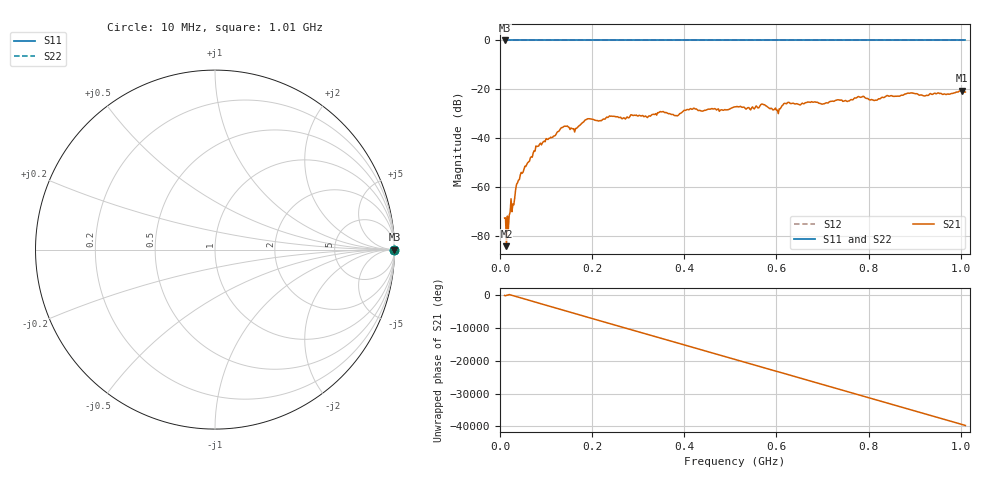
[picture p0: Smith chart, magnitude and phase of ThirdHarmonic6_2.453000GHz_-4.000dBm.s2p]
! 8/17/2025 4:23:39 AM
! C:\ANRITSUVNA\TEMP\TEMP.S2P
! CHANNEL.1
! TR.MEASUREMENT
! RAW.DATA
! RF.CORRECTION.OFF
! AVERAGING.OFF
! IF.BANDWIDTH: 5KHZ
! SWEEPTYPE:  FREQ.SWEEP(Linear)
! Reference Plane Port Info
! PORT:  PORT1  PORT2
! DISTANCE:  0  m  0  m
! TIME:  0  s  0  s
! PHASE.OFFSET:  0  deg.  0  deg.
! LOSS:  0  dB  0  dB
! REF.LOSS:  0  dB  0  dB
! REF.FREQ:  0  Hz  0  Hz
! Power Info
! POWER:  -20  dBm  -20  dBm
! EFF.POWER:  -20  dBm  -20  dBm
! SOURCE.ATTEN:  0  dB  0  dB
! TEST.ATTEN:  0  dB  0  dB
# GHZ S RI R 50.0
! FREQ.GHZ  S11RE  S11IM  S21RE  S21IM  S12RE  S12IM  S22RE  S22IM
!; PortSelection: Port_12
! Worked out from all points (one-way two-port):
!   501 points, 10 MHz to 1.01 GHz, reference 50 ohm
!   highest |S21| = -20.61 dB at 1.002 GHz (marker M1); lowest = -84.3 dB at 14 MHz (marker M2)
!   lowest |S11| = 0.0 dB at 10 MHz (marker M3)
!   |S11| at or under -10 dB: nowhere
!   |S22| runs from 0.0 to 0.0 dB; largest |S21 - S12| = 1.1
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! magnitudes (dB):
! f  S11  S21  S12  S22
! 10 MHz  0.0  -72.7  0.0  0.0
! 14 MHz  0.0  -84.3  0.0  0.0
! 18 MHz  0.0  -77.5  0.0  0.0
! 20 MHz  0.0  -71.6  0.0  0.0
! 30 MHz  0.0  -67.3  0.0  0.0
! 42 MHz  0.0  -57.0  0.0  0.0
! 78 MHz  0.0  -43.3  0.0  0.0
! 136 MHz  0.0  -35.6  0.0  0.0
! 162 MHz  0.0  -37.5  0.0  0.0
! 178 MHz  0.0  -33.8  0.0  0.0
! 192 MHz  0.0  -32.1  0.0  0.0
! 344 MHz  0.0  -29.6  0.0  0.0
! 382 MHz  0.0  -30.7  0.0  0.0
! 416 MHz  0.0  -28.2  0.0  0.0
! 510 MHz  0.0  -27.2  0.0  0.0
! 570 MHz  0.0  -26.1  0.0  0.0
! 604 MHz  0.0  -30.0  0.0  0.0
! 622 MHz  0.0  -25.9  0.0  0.0
! 678 MHz  0.0  -25.2  0.0  0.0
! 844 MHz  0.0  -22.9  0.0  0.0
! 1.002 GHz  0.0  -20.6  0.0  0.0
! 1.01 GHz  0.0  -21.1  0.0  0.0
